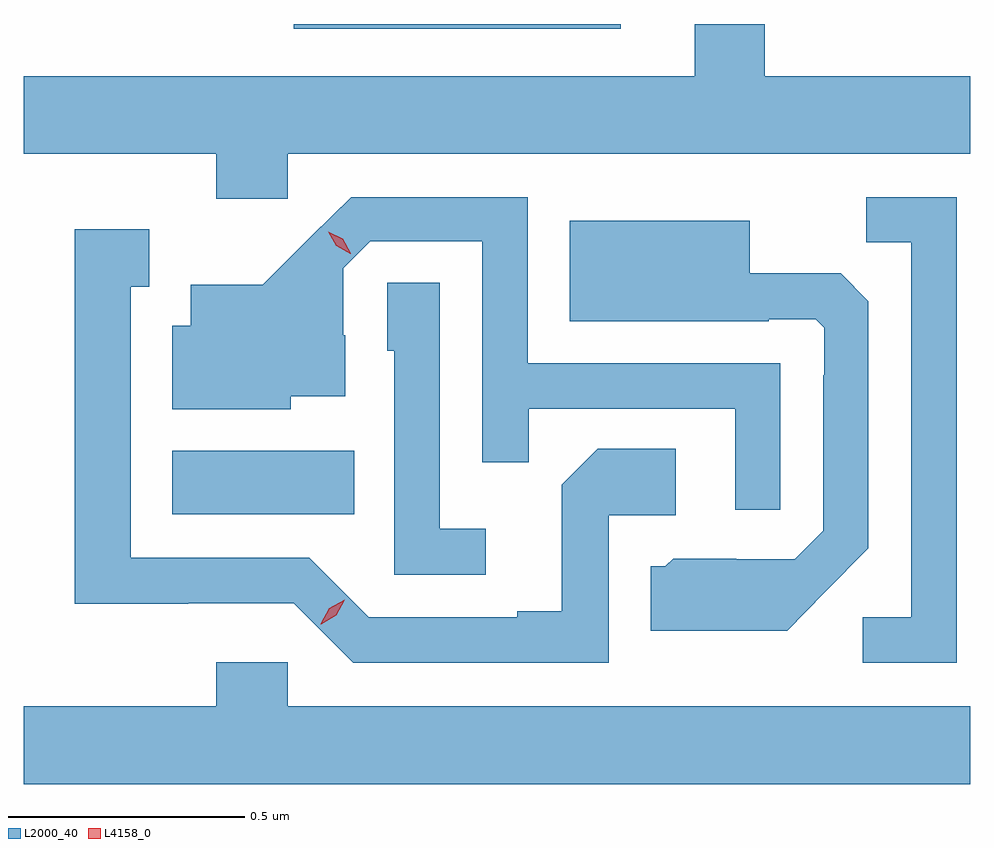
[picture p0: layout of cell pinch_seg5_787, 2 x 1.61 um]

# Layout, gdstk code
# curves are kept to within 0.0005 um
import gdstk
lib = gdstk.Library(unit=1e-6, precision=1e-09)
def R(c, l, rs):  # rectangles x0, y0, x1, y1
    for r in rs: c.add(gdstk.rectangle(r[:2], r[2:], *l))
def P(c, l, *ps):  # polygons
    for p in ps: c.add(gdstk.Polygon(p, *l))
L2000_40 = (2000, 40)
L4158_0 = (4158, 0)

pinch_seg5_787 = lib.new_cell('pinch_seg5_787')
R(pinch_seg5_787, L2000_40, [(801.374,897.29,801.758,897.424), (801.63,898.316,802.321,898.326)])
P(pinch_seg5_787, L2000_40, [(801.618,898.052),(803.06,898.052),(803.06,898.216),(802.626,898.216),(802.626,898.326),(802.478,898.326),(802.478,898.216),(801.06,898.216),(801.06,898.052),(801.467,898.052),(801.467,897.957),(801.618,897.957)],
  [(802.659,897.609),(802.125,897.609),(802.125,897.96),(801.752,897.96),(801.565,897.775),(801.413,897.775),(801.413,897.688),(801.374,897.688),(801.374,897.512),(801.624,897.512),(801.624,897.539),(801.739,897.539),(801.739,897.668),(801.735,897.668),(801.735,897.81),(801.792,897.867),(802.029,897.867),(802.029,897.4),(802.127,897.4),(802.127,897.513),(802.563,897.513),(802.563,897.3),(802.659,897.3)],
  [(803.031,897.96),(802.84,897.96),(802.84,897.865),(802.935,897.865),(802.935,897.072),(802.833,897.072),(802.833,896.976),(803.031,896.976)],
  [(802.753,897.125),(802.845,897.218),(802.845,897.74),(802.786,897.799),(802.594,897.799),(802.594,897.91),(802.214,897.91),(802.214,897.698),(802.634,897.698),(802.634,897.702),(802.734,897.702),(802.752,897.684),(802.752,897.584),(802.749,897.584),(802.749,897.255),(802.689,897.195),(802.566,897.195),(802.566,897.196),(802.432,897.196),(802.416,897.18),(802.385,897.18),(802.385,897.044),(802.673,897.044)],
  [(802.296,897.288),(802.438,897.288),(802.438,897.428),(802.273,897.428),(802.197,897.352),(802.197,897.085),(802.103,897.085),(802.103,897.072),(801.789,897.072),(801.663,897.198),(801.286,897.198),(801.286,897.771),(801.325,897.771),(801.325,897.892),(801.168,897.892),(801.168,897.101),(801.408,897.101),(801.408,897.102),(801.63,897.102),(801.756,896.976),(802.296,896.976)],
  [(802.036,897.259),(801.939,897.259),(801.939,897.779),(801.828,897.779),(801.828,897.636),(801.843,897.636),(801.843,897.162),(802.036,897.162)],
  [(803.06,896.884),(801.618,896.884),(801.618,896.977),(801.467,896.977),(801.467,896.884),(801.06,896.884),(801.06,896.72),(803.06,896.72)])
P(pinch_seg5_787, L4158_0, [(801.75,897.841),(801.72,897.857),(801.703,897.887),(801.703,897.887),(801.703,897.887),(801.734,897.872),(801.751,897.842),(801.751,897.841)],
  [(801.688,897.058),(801.688,897.059),(801.706,897.091),(801.738,897.109),(801.738,897.109),(801.738,897.109),(801.72,897.077),(801.689,897.058)])

lib.write_gds('pinch_seg5_787.gds')
